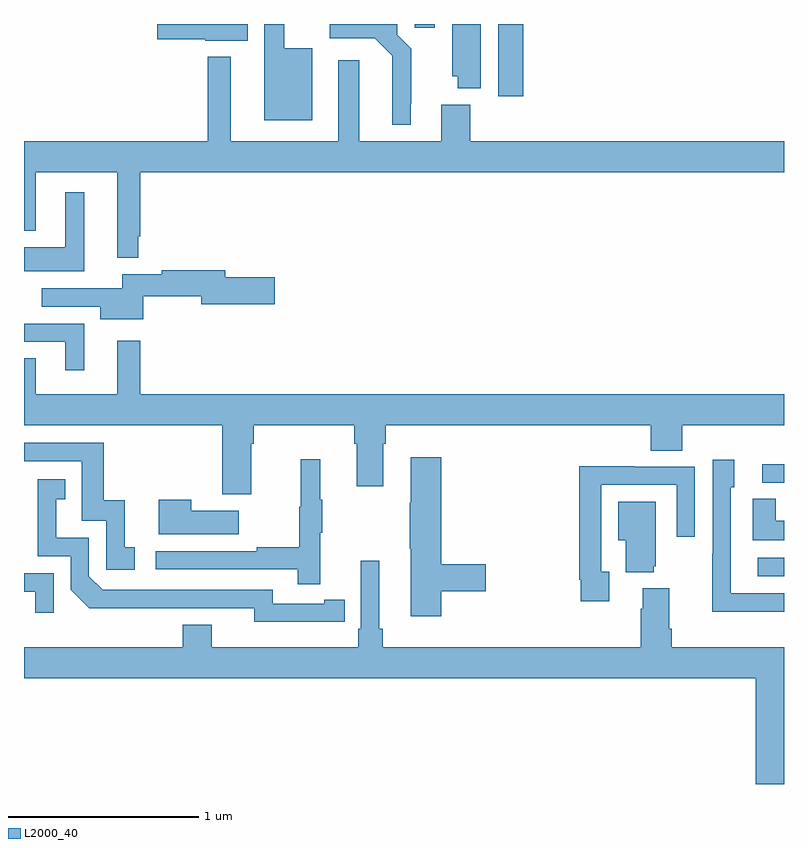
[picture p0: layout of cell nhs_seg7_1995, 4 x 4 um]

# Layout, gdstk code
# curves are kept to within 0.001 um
import gdstk
lib = gdstk.Library(unit=1e-6, precision=1e-09)
def R(c, l, rs):  # rectangles x0, y0, x1, y1
    for r in rs: c.add(gdstk.rectangle(r[:2], r[2:], *l))
def P(c, l, *ps):  # polygons
    for p in ps: c.add(gdstk.Polygon(p, *l))
L2000_40 = (2000, 40)

nhs_seg7_1995 = lib.new_cell('nhs_seg7_1995')
R(nhs_seg7_1995, L2000_40, [(246.861,1061.094,247,1061.19), (246.885,1061.586,247,1061.684), (245.495,1063.62,245.627,1064), (245.057,1063.98,245.161,1064)])
P(nhs_seg7_1995, L2000_40, [(244.177,1064),(243.702,1064),(243.702,1063.919),(243.954,1063.919),(243.954,1063.913),(244.177,1063.913)],
  [(244.516,1063.873),(244.369,1063.873),(244.369,1064),(244.265,1064),(244.265,1063.493),(244.516,1063.493)],
  [(245.404,1064),(245.255,1064),(245.255,1063.725),(245.282,1063.725),(245.282,1063.661),(245.404,1063.661)],
  [(245.035,1063.579),(245.039,1063.579),(245.039,1063.87),(244.965,1063.944),(244.965,1064),(244.608,1064),(244.608,1063.925),(244.845,1063.925),(244.938,1063.832),(244.937,1063.469),(245.035,1063.469)],
  [(245.195,1063.576),(245.195,1063.384),(244.765,1063.384),(244.765,1063.81),(244.655,1063.81),(244.655,1063.384),(244.087,1063.384),(244.087,1063.828),(243.966,1063.828),(243.966,1063.384),(243,1063.384),(243,1062.911),(243.061,1062.911),(243.061,1063.22),(243.491,1063.22),(243.491,1062.771),(243.602,1062.771),(243.602,1062.883),(243.613,1062.883),(243.613,1063.22),(247,1063.22),(247,1063.384),(245.348,1063.384),(245.348,1063.576)],
  [(243.316,1063.114),(243.218,1063.114),(243.218,1062.826),(243,1062.826),(243,1062.698),(243.316,1062.698)],
  [(243.628,1062.568),(243.932,1062.568),(243.932,1062.526),(244.321,1062.526),(244.321,1062.668),(244.06,1062.668),(244.06,1062.704),(243.724,1062.704),(243.724,1062.684),(243.518,1062.684),(243.518,1062.609),(243.093,1062.609),(243.093,1062.513),(243.401,1062.513),(243.401,1062.446),(243.628,1062.446)],
  [(243.316,1062.423),(243,1062.423),(243,1062.327),(243.218,1062.327),(243.218,1062.177),(243.316,1062.177)],
  [(244.195,1061.792),(244.208,1061.792),(244.208,1061.888),(244.739,1061.888),(244.739,1061.792),(244.751,1061.792),(244.751,1061.568),(244.891,1061.568),(244.891,1061.792),(244.904,1061.792),(244.904,1061.888),(246.299,1061.888),(246.299,1061.755),(246.464,1061.755),(246.464,1061.888),(247,1061.888),(247,1062.052),(243.613,1062.052),(243.613,1062.334),(243.491,1062.334),(243.491,1062.052),(243.061,1062.052),(243.061,1062.242),(243,1062.242),(243,1061.888),(244.043,1061.888),(244.043,1061.526),(244.195,1061.526)],
  [(243.583,1061.247),(243.53,1061.247),(243.53,1061.494),(243.419,1061.494),(243.419,1061.796),(243,1061.796),(243,1061.7),(243.303,1061.7),(243.303,1061.385),(243.432,1061.385),(243.432,1061.127),(243.583,1061.127)],
  [(245.195,1061.014),(245.431,1061.014),(245.431,1061.156),(245.195,1061.156),(245.195,1061.719),(245.036,1061.719),(245.036,1061.48),(245.029,1061.48),(245.029,1061.239),(245.036,1061.239),(245.036,1060.884),(245.195,1060.884)],
  [(244.559,1061.323),(244.57,1061.323),(244.57,1061.497),(244.559,1061.497),(244.559,1061.71),(244.456,1061.71),(244.456,1061.46),(244.449,1061.46),(244.449,1061.246),(244.225,1061.246),(244.225,1061.226),(243.693,1061.226),(243.693,1061.13),(244.441,1061.13),(244.441,1061.052),(244.559,1061.052)],
  [(247,1061.004),(246.72,1061.004),(246.72,1061.562),(246.739,1061.562),(246.739,1061.707),(246.624,1061.707),(246.624,1061.213),(246.622,1061.213),(246.622,1060.907),(247,1060.907)],
  [(246.079,1061.118),(246.039,1061.118),(246.039,1061.574),(246.435,1061.574),(246.435,1061.301),(246.531,1061.301),(246.531,1061.67),(246.215,1061.67),(246.215,1061.672),(245.923,1061.672),(245.923,1061.074),(245.931,1061.074),(245.931,1060.962),(246.079,1060.962)],
  [(244.58,1060.854),(244.688,1060.854),(244.688,1060.97),(244.58,1060.97),(244.58,1060.95),(244.308,1060.95),(244.308,1061.022),(243.414,1061.022),(243.342,1061.094),(243.342,1061.295),(243.169,1061.295),(243.169,1061.499),(243.218,1061.499),(243.218,1061.605),(243.072,1061.605),(243.072,1061.199),(243.246,1061.199),(243.246,1061.022),(243.344,1060.925),(244.212,1060.926),(244.212,1060.853)],
  [(247,1061.386),(246.957,1061.386),(246.957,1061.501),(246.836,1061.501),(246.836,1061.282),(247,1061.282)],
  [(244.129,1061.437),(243.881,1061.437),(243.881,1061.497),(243.71,1061.497),(243.71,1061.315),(244.129,1061.315)],
  [(246.314,1061.145),(246.325,1061.145),(246.325,1061.485),(246.128,1061.485),(246.128,1061.282),(246.167,1061.282),(246.167,1061.114),(246.314,1061.114)],
  [(247,1060.72),(246.41,1060.72),(246.41,1060.816),(246.397,1060.816),(246.397,1061.029),(246.257,1061.029),(246.257,1060.922),(246.245,1060.922),(246.245,1060.72),(244.889,1060.72),(244.889,1060.816),(244.87,1060.816),(244.87,1061.176),(244.773,1061.176),(244.773,1060.816),(244.76,1060.816),(244.76,1060.72),(243.988,1060.72),(243.988,1060.837),(243.836,1060.837),(243.836,1060.72),(243,1060.72),(243,1060.556),(246.851,1060.556),(246.851,1060),(247,1060)],
  [(243.156,1061.109),(243,1061.109),(243,1061.013),(243.059,1061.013),(243.059,1060.902),(243.156,1060.902)])

lib.write_gds('nhs_seg7_1995.gds')
